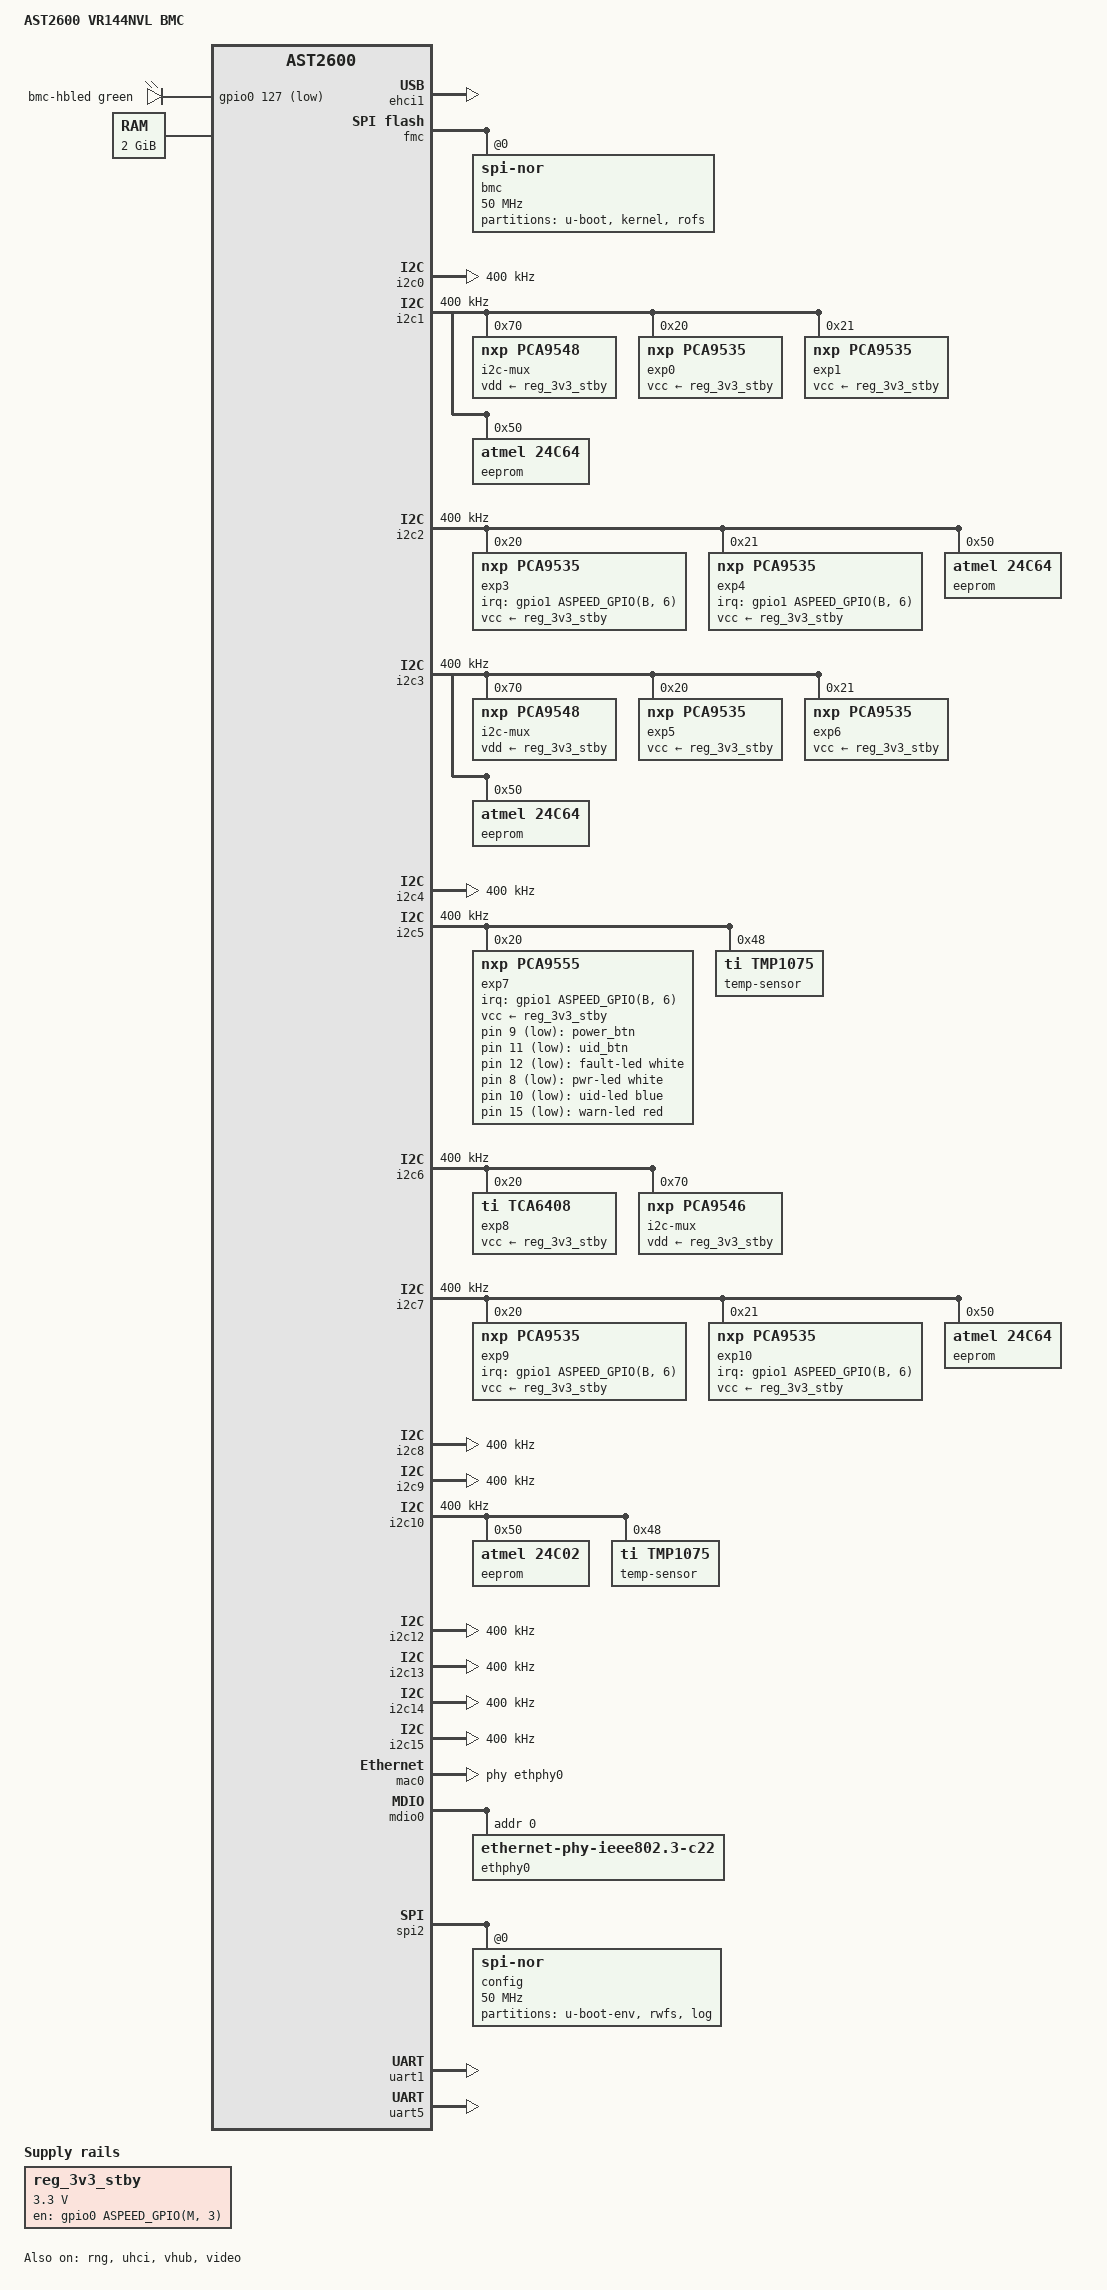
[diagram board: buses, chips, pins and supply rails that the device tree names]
// SPDX-License-Identifier: GPL-2.0+
/dts-v1/;

#include "aspeed-g6.dtsi"
#include <dt-bindings/gpio/aspeed-gpio.h>
#include <dt-bindings/input/input.h>
#include <dt-bindings/leds/common.h>

/ {
	model = "AST2600 VR144NVL BMC";
	compatible = "nvidia,vr144nvl-bmc", "aspeed,ast2600";

	aliases {
		serial2 = &uart3;
		serial4 = &uart5;
		i2c16 = &c0uphy0;
		i2c17 = &c0uphy2;
		i2c24 = &c1uphy0;
		i2c25 = &c1uphy2;
		i2c32 = &i2c_usb_hub;
		i2c33 = &i2c_tpm;
		i2c34 = &i2c_dp;
		i2c35 = &i2c_rtc;
	};

	buttons {
		compatible = "gpio-keys";
		button-power {
			label = "power_btn";
			linux,code = <KEY_POWER>;
			gpios = <&exp7 9 GPIO_ACTIVE_LOW>;
		};
		button-uid {
			label = "uid_btn";
			linux,code = <KEY_FN_1>;
			gpios = <&exp7 11 GPIO_ACTIVE_LOW>;
		};
	};

	chosen {
		stdout-path = &uart5;
	};

	leds {
		compatible = "gpio-leds";
		fault-led {
			gpios = <&exp7 12 GPIO_ACTIVE_LOW>;
			function = LED_FUNCTION_PANIC;
			color = <LED_COLOR_ID_WHITE>;
			label = "fault-led";
			default-state = "off";
			retain-state-suspended;
			retain-state-shutdown;
			panic-indicator;
		};
		hb-led {
			gpios = <&gpio0 127 GPIO_ACTIVE_LOW>;
			function = LED_FUNCTION_HEARTBEAT;
			color = <LED_COLOR_ID_GREEN>;
			label = "bmc-hbled";
			linux,default-trigger = "heartbeat";
			default-state = "on";
			retain-state-suspended;
			retain-state-shutdown;
		};
		pwr-led {
			gpios = <&exp7 8 GPIO_ACTIVE_LOW>;
			function = LED_FUNCTION_POWER;
			color = <LED_COLOR_ID_WHITE>;
			label = "pwr-led";
			linux,default-trigger = "default-on";
			default-state = "on";
			retain-state-suspended;
			retain-state-shutdown;
		};
		uid-led {
			gpios = <&exp7 10 GPIO_ACTIVE_LOW>;
			function = LED_FUNCTION_INDICATOR;
			color = <LED_COLOR_ID_BLUE>;
			label = "uid-led";
			default-state = "off";
			retain-state-suspended;
			retain-state-shutdown;
		};
		warn-led {
			gpios = <&exp7 15 GPIO_ACTIVE_LOW>;
			function = LED_FUNCTION_PANIC;
			color = <LED_COLOR_ID_RED>;
			label = "warn-led";
			default-state = "off";
			retain-state-suspended;
			retain-state-shutdown;
		};
	};

	memory@80000000 {
		device_type = "memory";
		reg = <0x80000000 0x80000000>;
	};

	reg_3v3_stby: regulator-3v3-standby {
		compatible = "regulator-fixed";
		regulator-name = "3v3-standby";
		regulator-min-microvolt = <3300000>;
		regulator-max-microvolt = <3300000>;
		gpio = <&gpio0 ASPEED_GPIO(M, 3) GPIO_ACTIVE_HIGH>;
		enable-active-high;
		regulator-always-on;
	};

	reserved-memory {
		#address-cells = <1>;
		#size-cells = <1>;
		ranges;

		vga_memory: framebuffer@9f000000 {
			no-map;
			reg = <0x9f000000 0x01000000>; /* 16M */
		};

		ramoops@a0000000 {
			compatible = "ramoops";
			reg = <0xa0000000 0x100000>; /* 1MB */
			record-size = <0x10000>; /* 64KB */
			max-reason = <2>; /* KMSG_DUMP_OOPS */
		};

		gfx_memory: framebuffer {
			compatible = "shared-dma-pool";
			reusable;
			size = <0x01000000>;
			alignment = <0x01000000>;
		};

		video_engine_memory: jpegbuffer {
			compatible = "shared-dma-pool";
			reusable;
			size = <0x02000000>;	/* 32M */
			alignment = <0x01000000>;
		};
	};
};

// USB Port B
&ehci1 {
	status = "okay";
};

// Need custom layout for Root of Trust
&fmc {
	status = "okay";
	flash@0 {
		compatible = "jedec,spi-nor";
		label = "bmc";
		spi-max-frequency = <50000000>;
		status = "okay";
		partitions {
			compatible = "fixed-partitions";
			#address-cells = <1>;
			#size-cells = <1>;

			u-boot@0 {
				// 896KB
				reg = <0x0 0xe0000>;
				label = "u-boot";
			};

			kernel@100000 {
				// 9MB
				reg = <0x100000 0x900000>;
				label = "kernel";
			};

			rofs@a00000 {
				// 55292KB (extends to end of 64MB SPI - 4KB)
				reg = <0xa00000 0x35FF000>;
				label = "rofs";
			};
		};
	};
};

&gpio0 {
	gpio-line-names =
		/*A0-A7*/ "", "", "", "", "", "", "", "",
		/*B0-B7*/ "", "", "", "", "", "", "", "",
		/*C0-C7*/ "", "", "", "", "", "", "", "",
		/*D0-D7*/ "", "", "", "", "", "", "", "",
		/*E0-E7*/ "RTL8221_PHY_RST_L-O", "RTL8211_PHY_INT_L-I",	"", "", "", "", "",
					"MUX_SGPIO_SEL-O",
		/*F0-F7*/ "", "", "", "", "", "", "", "",
		/*G0-G7*/ "", "", "", "", "", "", "", "",
		/*H0-H7*/ "", "", "", "", "", "", "", "",
		/*I0-I7*/ "", "", "", "", "", "QSPI2_RST_L-O", "", "BMC_DDR4_TEN-O",
		/*J0-J7*/ "", "", "", "", "", "", "", "",
		/*K0-K7*/ "", "", "", "", "", "", "", "",
		/*L0-L7*/ "", "", "", "", "", "", "", "",
		/*M0-M7*/ "HUB_RST_N-O", "BMC_FRU_WP-O", "SCM_PGOOD_C-O", "HPM_STBY_POWER_EN-O",
					"STBY_POWER_PG_3V3-I", "PCIE_EP_RST_C_L-O", "", "",
		/*N0-N7*/ "", "", "", "", "", "", "", "",
		/*O0-O7*/ "", "", "", "", "", "", "", "",
		/*P0-P7*/ "", "", "", "", "", "", "", "BMC_HBLED_L-O",
		/*Q0-Q7*/ "", "", "", "", "", "", "", "",
		/*R0-R7*/ "", "SP0_AP_INTR_N-I", "", "", "", "", "", "",
		/*S0-S7*/ "", "", "", "", "", "", "", "",
		/*T0-T7*/ "", "", "", "", "", "", "", "",
		/*U0-U7*/ "", "", "", "", "", "", "", "",
		/*V0-V7*/ "", "", "", "","PCB_TEMP_ALERT_L-I", "","", "",
		/*W0-W7*/ "", "", "", "", "", "", "", "",
		/*X0-X7*/ "", "", "", "", "", "", "", "",
		/*Y0-Y7*/ "", "", "", "EMMC_RST_L-O", "","", "", "",
		/*Z0-Z7*/ "GPIOZ0_EROT_OOB_INTR_N_C-I","", "", "", "", "", "", "";
};

&gpio1 {
	/* 36 1.8V GPIOs */
	gpio-line-names =
		/*A0-A7*/ "", "", "", "", "", "", "", "",
		/*B0-B7*/ "", "", "", "", "AP_EROT_REQ-O", "EROT_AP_GNT-I", "I2C_MGMT0_ALERT_N-I",
					"",
		/*C0-C7*/ "", "", "", "", "", "", "", "",
		/*D0-D7*/ "", "", "", "", "", "", "", "I2C_SSIF_ALERT_N-I",
		/*E0-E7*/ "", "", "", "", "", "", "", "";
};

// I2C1
&i2c0 {
	clock-frequency = <400000>;
	status = "okay";
};

// I2C2
// Baseboard 0 Management 1
&i2c1 {
	clock-frequency = <400000>;
	status = "okay";

	i2c-mux@70 {
		compatible = "nxp,pca9548";
		#address-cells = <1>;
		#size-cells = <0>;
		reg = <0x70>;
		i2c-mux-idle-disconnect;
		vdd-supply = <&reg_3v3_stby>;

		c0uphy0: i2c@0 {
			#address-cells = <1>;
			#size-cells = <0>;
			reg = <0>;
		};

		c0uphy2: i2c@1 {
			#address-cells = <1>;
			#size-cells = <0>;
			reg = <1>;
		};
	};

	exp0: gpio@20 {
		compatible = "nxp,pca9535";
		reg = <0x20>;
		vcc-supply = <&reg_3v3_stby>;
		gpio-controller;
		#gpio-cells = <2>;
		gpio-line-names =
			"MCU_RESET_L-O",
			"MCU_RECOVERY_L-O",
			"GPU_MCU_RESET_L_3V3-O",
			"GPU_MCU_RECOVERY_L_3V3-O",
			"THERM_OVERT_L-I",
			"THERM_WARN_L-I",
			"HMC_IST_PRE_RST_L-O",
			"CPLD_READY-I",
			"MODULE_PWR_GOOD-I",
			"MCU_HMC_ALERT_L-I",
			"USB_HMC_HUB_RST_L-O",
			"HPM_MCU_OK-I",
			"CPU0_SHDN_OK_L_3V3-I",
			"PRIMARY_NODE_L-O",
			"IST_SYS_RST_L-O",
			"PWR_BRAKE_STATUS_L-I";
	};

	exp1: gpio@21 {
		compatible = "nxp,pca9535";
		reg = <0x21>;
		vcc-supply = <&reg_3v3_stby>;
		gpio-controller;
		#gpio-cells = <2>;
		gpio-line-names =
			"CPU_FORCED_RECOVERY_L-O",
			"CPU_BOOT_DEV_SEL0-O",
			"CPU_BOOT_DEV_SEL1-O",
			"CPU_BOOT_DEV_SEL2-O",
			"BOARD_ID_0-I",
			"CPU_RECOVERY_TYPE0-O",
			"CPU_RECOVERY_TYPE1-O",
			"CPU_IST_BOOT_HMC-O",
			"CPU_BOOT_CHAIN0-O",
			"BOARD_ID_1-I",
			"BOARD_ID_2-I",
			"CPU_DIE_SEL0-O",
			"CPU_DIE_SEL1-O",
			"CPU_DIE_SEL2-O",
			"CPU_BOOT_COMPLETE-I",
			"IOX_JTAG_NVSEL-O";
	};

	eeprom@50 {
		compatible = "atmel,24c64";
		reg = <0x50>;
		pagesize = <32>;
	};
};

// I2C3
// Baseboard 0 Management 0
&i2c2 {
	clock-frequency = <400000>;
	status = "okay";

	exp3: gpio@20 {
		compatible = "nxp,pca9535";
		reg = <0x20>;
		interrupt-parent = <&gpio1>;
		interrupts = <ASPEED_GPIO(B, 6) IRQ_TYPE_LEVEL_LOW>;
		interrupt-controller;
		#interrupt-cells = <2>;
		vcc-supply = <&reg_3v3_stby>;
		gpio-controller;
		#gpio-cells = <2>;
		gpio-line-names =
			"BMC_SHDN_FORCE_L-O",
			"IOX_STBY_PWR_PGOOD-I",
			"THERM_OVERT_L-I",
			"THERM_WARN_L-I",
			"GLOBAL_WP_BMC-O",
			"USB_HUB0_RST_L-O",
			"IOX_PRE_RST_N-O",
			"LEAK_DETECT_L-I",
			"RUN_PWR_EN-O",
			"MODULE_PWR_GOOD-I",
			"CPU_CHIPTHROT_L_3V3-I",
			"SHDN_REQ_L_3V3-O",
			"CPU0_SHDN_OK_L_3V3-I",
			"CPU1_SHDN_OK_L_3V3-I",
			"PWR_BRAKE_L_3V3-O",
			"PWR_BRAKE_STATUS_L-I";
	};

	exp4: gpio@21 {
		compatible = "nxp,pca9535";
		reg = <0x21>;
		interrupt-parent = <&gpio1>;
		interrupts = <ASPEED_GPIO(B, 6) IRQ_TYPE_LEVEL_LOW>;
		interrupt-controller;
		#interrupt-cells = <2>;
		vcc-supply = <&reg_3v3_stby>;
		gpio-controller;
		#gpio-cells = <2>;
		gpio-line-names =
			"I2C_BUS_MUX_RST_L-O",
			"HPM_MCU_OK-I",
			"AIC_USB_EN-O",
			"SOCAMM_DAC_SEL0-O",
			"SNN_SOCAMM_DAC_SEL1-O",
			"C0_SOCAMM_I2C_SEL_R-O",
			"SNN_C1_SOCAMM_I2C_SEL_R-O",
			"EEPROM_POWER_DISABLE-O",
			"CPU_L0L1_RST_L_3V3-I",
			"CPU_L2_RST_L_3V3-I",
			"BOARD_ID_0-I",
			"BOARD_ID_1-I",
			"BMC_LEAK_TEST_L-O",
			"MCU_BMC_ALERT_L-I",
			"CPU_BOOT_COMPLETE_3V3-I",
			"BOARD_ID_2-I";
	};

	eeprom@50 {
		compatible = "atmel,24c64";
		reg = <0x50>;
		pagesize = <32>;
	};
};

// I2C4
// Baseboard 1 Management 1
&i2c3 {
	clock-frequency = <400000>;
	status = "okay";

	i2c-mux@70 {
		compatible = "nxp,pca9548";
		#address-cells = <1>;
		#size-cells = <0>;
		reg = <0x70>;
		i2c-mux-idle-disconnect;
		vdd-supply = <&reg_3v3_stby>;

		c1uphy0: i2c@0 {
			#address-cells = <1>;
			#size-cells = <0>;
			reg = <0>;
		};

		c1uphy2: i2c@1 {
			#address-cells = <1>;
			#size-cells = <0>;
			reg = <1>;
		};
	};

	exp5: gpio@20 {
		compatible = "nxp,pca9535";
		reg = <0x20>;
		vcc-supply = <&reg_3v3_stby>;
		gpio-controller;
		#gpio-cells = <2>;
		gpio-line-names =
			"MCU_RESET_L_C1-O",
			"MCU_RECOVERY_L_C1-O",
			"GPU_MCU_RESET_L_3V3_C1-O",
			"GPU_MCU_RECOVERY_L_3V3_C1-O",
			"THERM_OVERT_L_C1-I",
			"THERM_WARN_L_C1-I",
			"HMC_IST_PRE_RST_L_C1-O",
			"CPLD_READY_C1-I",
			"MODULE_PWR_GOOD_C1-I",
			"MCU_HMC_ALERT_L_C1-I",
			"USB_HMC_HUB_RST_L_C1-O",
			"HPM_MCU_OK_C1-I",
			"CPU0_SHDN_OK_L_3V3_C1-I",
			"PRIMARY_NODE_L_C1-O",
			"IST_SYS_RST_L_C1-O",
			"PWR_BRAKE_STATUS_L_C1-I";
	};

	exp6: gpio@21 {
		compatible = "nxp,pca9535";
		reg = <0x21>;
		vcc-supply = <&reg_3v3_stby>;
		gpio-controller;
		#gpio-cells = <2>;
		gpio-line-names =
			"CPU_FORCED_RECOVERY_L_C1-O",
			"CPU_BOOT_DEV_SEL0_C1-O",
			"CPU_BOOT_DEV_SEL1_C1-O",
			"CPU_BOOT_DEV_SEL2_C1-O",
			"BOARD_ID_0_C1-I",
			"CPU_RECOVERY_TYPE0_C1-O",
			"CPU_RECOVERY_TYPE1_C1-O",
			"CPU_IST_BOOT_HMC_C1-O",
			"CPU_BOOT_CHAIN0_C1-O",
			"BOARD_ID_1_C1-I",
			"BOARD_ID_2_C1-I",
			"CPU_DIE_SEL0_C1-O",
			"CPU_DIE_SEL1_C1-O",
			"CPU_DIE_SEL2_C1-O",
			"CPU_BOOT_COMPLETE_C1-I",
			"IOX_JTAG_NVSEL_C1-O";
	};

	eeprom@50 {
		compatible = "atmel,24c64";
		reg = <0x50>;
		pagesize = <32>;
	};
};

// I2C5
&i2c4 {
	clock-frequency = <400000>;
	status = "okay";
};

// I2C6
// Management Board
&i2c5 {
	clock-frequency = <400000>;
	status = "okay";

	exp7: gpio@20 {
		compatible = "nxp,pca9555";
		reg = <0x20>;
		interrupt-parent = <&gpio1>;
		interrupts = <ASPEED_GPIO(B, 6) IRQ_TYPE_LEVEL_LOW>;
		interrupt-controller;
		#interrupt-cells = <2>;
		vcc-supply = <&reg_3v3_stby>;
		gpio-controller;
		#gpio-cells = <2>;
		gpio-line-names =
			"HMC_RST_R_L-O",
			"HMC_RECOVERY_R-O",
			"HMC_SPI_MUX_R_SEL-O",
			"GLOBAL_WP-O",
			"HMC_READY-I",
			"HMC_PRSNT_R-I",
			"BMC_SELF_PWR_CYCLE-O",
			"EEDO_LED2-O",
			"PWR_LED_L-O",
			"PWR_BTN_L-I",
			"UID_LED_L-O",
			"UID_BTN_L-I",
			"FAULT_LED_L-0",
			"USB2_HUB_RST_L-O",
			"BMC_M2_RST_L-O",
			"WARN_LED_L-O";
	};

	temp-sensor@48 {
		compatible = "ti,tmp1075";
		reg = <0x48>;
	};
};

// I2C7
// BMC Expander + Management Board
&i2c6 {
	clock-frequency = <400000>;
	status = "okay";

	exp8: gpio@20 {
		compatible = "ti,tca6408";
		reg = <0x20>;
		gpio-controller;
		#gpio-cells = <2>;
		vcc-supply = <&reg_3v3_stby>;
		gpio-line-names =
			"",
			"",
			"EROT_FATAL_ERROR_N-I",
			"",
			"",
			"EROT_RECOV_N-O",
			"NRESET_IN_IOX_N-O",
			"";
	};

	i2c-mux@70 {
		compatible = "nxp,pca9546";
		#address-cells = <1>;
		#size-cells = <0>;
		reg = <0x70>;
		i2c-mux-idle-disconnect;
		vdd-supply = <&reg_3v3_stby>;

		i2c_usb_hub:i2c@0 {
			#address-cells = <1>;
			#size-cells = <0>;
			reg = <0>;
		};

		i2c_tpm:i2c@1 {
			#address-cells = <1>;
			#size-cells = <0>;
			reg = <1>;

		};

		i2c_dp:i2c@2 {
			#address-cells = <1>;
			#size-cells = <0>;
			reg = <2>;
		};

		i2c_rtc:i2c@3 {
			#address-cells = <1>;
			#size-cells = <0>;
			reg = <3>;
		};
	};
};

// I2C8
// Baseboard 1 Management 0
&i2c7 {
	clock-frequency = <400000>;
	status = "okay";

	exp9: gpio@20 {
		compatible = "nxp,pca9535";
		reg = <0x20>;
		interrupt-parent = <&gpio1>;
		interrupts = <ASPEED_GPIO(B, 6) IRQ_TYPE_LEVEL_LOW>;
		interrupt-controller;
		#interrupt-cells = <2>;
		vcc-supply = <&reg_3v3_stby>;
		gpio-controller;
		#gpio-cells = <2>;
		gpio-line-names =
			"BMC_SHDN_FORCE_L_C1-O",
			"IOX_STBY_PWR_PGOOD_C1-I",
			"THERM_OVERT_L_C1-I",
			"THERM_WARN_L_C1-I",
			"GLOBAL_WP_BMC_C1-O",
			"USB_HUB0_RST_L_C1-O",
			"IOX_PRE_RST_N_C1-O",
			"LEAK_DETECT_L_C1-I",
			"RUN_PWR_EN_C1-O",
			"MODULE_PWR_GOOD_C1-I",
			"CPU_CHIPTHROT_L_3V3_C1-I",
			"SHDN_REQ_L_3V3_C1-O",
			"CPU0_SHDN_OK_L_3V3_C1-I",
			"CPU1_SHDN_OK_L_3V3_C1-I",
			"PWR_BRAKE_L_3V3_C1-O",
			"PWR_BRAKE_STATUS_L_C1-I";
	};

	exp10: gpio@21 {
		compatible = "nxp,pca9535";
		reg = <0x21>;
		interrupt-parent = <&gpio1>;
		interrupts = <ASPEED_GPIO(B, 6) IRQ_TYPE_LEVEL_LOW>;
		interrupt-controller;
		#interrupt-cells = <2>;
		vcc-supply = <&reg_3v3_stby>;
		gpio-controller;
		#gpio-cells = <2>;
		gpio-line-names =
			"I2C_BUS_MUX_RST_L_C1-O",
			"HPM_MCU_OK_C1-I",
			"AIC_USB_EN_C1-O",
			"SOCAMM_DAC_SEL0_C1-O",
			"SNN_SOCAMM_DAC_SEL1_C1-O",
			"C0_SOCAMM_I2C_SEL_R_C1-O",
			"SNN_C1_SOCAMM_I2C_SEL_R_C1-O",
			"EEPROM_POWER_DISABLE_C1-O",
			"CPU_L0L1_RST_L_3V3_C1-I",
			"CPU_L2_RST_L_3V3_C1-I",
			"BOARD_ID_0_C1-I",
			"BOARD_ID_1_C1-I",
			"BMC_LEAK_TEST_L_C1-O",
			"MCU_BMC_ALERT_L_C1-I",
			"CPU_BOOT_COMPLETE_3V3_C1-I",
			"BOARD_ID_2_C1-I";
	};

	eeprom@50 {
		compatible = "atmel,24c64";
		reg = <0x50>;
		pagesize = <32>;
	};
};

// I2C9
&i2c8 {
	clock-frequency = <400000>;
	status = "okay";
};

// I2C10
&i2c9 {
	clock-frequency = <400000>;
	status = "okay";
};

// I2C11
// BMC FRU + TEMP
&i2c10 {
	clock-frequency = <400000>;
	status = "okay";

	eeprom@50 {
		compatible = "atmel,24c02";
		reg = <0x50>;
		pagesize = <16>;
	};

	temp-sensor@48 {
		compatible = "ti,tmp1075";
		reg = <0x48>;
	};

};

// I2C13
&i2c12 {
	clock-frequency = <400000>;
	status = "okay";
};

// I2C14
&i2c13 {
	clock-frequency = <400000>;
	status = "okay";
};

// I2C15
&i2c14 {
	clock-frequency = <400000>;
	status = "okay";
};

// I2C16
&i2c15 {
	clock-frequency = <400000>;
	status = "okay";
};

&mac0 {
	pinctrl-names = "default";
	phy-handle = <&ethphy0>;
	pinctrl-0 = <&pinctrl_rgmii1_default>;
	status = "okay";
};

&mdio0 {
	status = "okay";
	ethphy0: ethernet-phy@0 {
		compatible = "ethernet-phy-ieee802.3-c22";
		reg = <0>;
	};
};

&rng {
	status = "okay";
};

&spi2 {
	pinctrl-names = "default";
	pinctrl-0 = <&pinctrl_spi2_default>;
	status = "okay";
	// Data SPI is 64MB in size
	flash@0 {
		compatible = "jedec,spi-nor";
		label = "config";
		spi-max-frequency = <50000000>;
		status = "okay";
		partitions {
			compatible = "fixed-partitions";
			#address-cells = <1>;
			#size-cells = <1>;

			u-boot-env@0 {
				// 256KB
				reg = <0x0 0x40000>;
				label = "u-boot-env";
			};

			rwfs@40000 {
				// 16MB
				reg = <0x40000 0x1000000>;
				label = "rwfs";
			};

			log@1040000 {
				// 40MB
				reg = <0x1040000 0x2800000>;
				label = "log";
			};
		};
	};
};

&uart1 {
	status = "okay";
};

&uart5 {
	status = "okay";
};

// USB Port B
&uhci {
	status = "okay";
};

// USB port A
&vhub {
	status = "okay";
};

&video {
	memory-region = <&video_engine_memory>;
	status = "okay";
};
